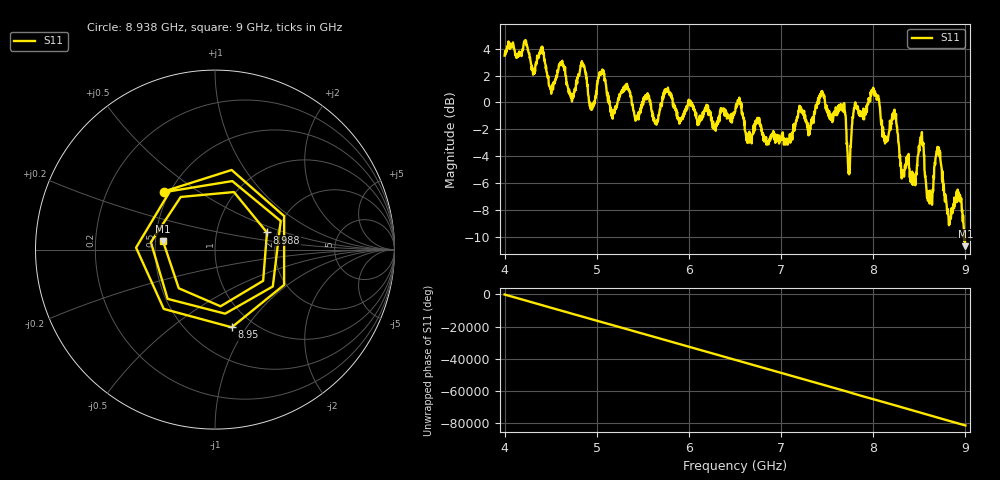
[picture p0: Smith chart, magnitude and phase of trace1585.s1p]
! Created with skrf 1.8.0 (http://scikit-rf.org).
# Hz S RI R 50.0
!freq ReS11 ImS11
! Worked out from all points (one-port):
!   1601 points, 4 GHz to 9 GHz, reference 50 ohm
!   lowest |S11| = -10.7 dB at 9 GHz (marker M1), VSWR 1.83, Z = 27.5 + j2.74 ohm
!   |S11| at or under -10 dB: 8.986563 GHz to 8.990316 GHz (3.753 MHz wide, 0.0418 % of centre); 8.994154 GHz to end of sweep
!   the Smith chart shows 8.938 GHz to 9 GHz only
!   S11 on the Smith chart (normalised r, x): 8.938 GHz: 0.46, +0.37; 8.95 GHz: 0.80, -0.86; 8.988 GHz: 1.77, +0.37; 9 GHz: 0.55, +0.05
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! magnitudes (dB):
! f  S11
! 4 GHz  3.5
! 4.4 GHz  4.0
! 4.503 GHz  0.9
! 4.625 GHz  3.1
! 4.722 GHz  0.5
! 4.844 GHz  2.8
! 4.941 GHz  -0.6
! 5.05 GHz  2.3
! 5.169 GHz  -0.7
! 5.25 GHz  0.4
! 5.875 GHz  -1.2
! 6.5 GHz  -0.7
! 7.125 GHz  -2.2
! 7.447 GHz  0.8
! 7.669 GHz  -0.4
! 7.75 GHz  -4.0
! 7.8 GHz  -0.1
! 8.006 GHz  1.0
! 8.375 GHz  -4.4
! 8.438 GHz  -5.9
! 8.528 GHz  -2.2
! 8.616 GHz  -6.5
! 8.703 GHz  -3.7
! 8.819 GHz  -8.9
! 8.938 GHz  -7.3
! 8.95 GHz  -7.1
! 8.988 GHz  -10.3
! 9 GHz  -10.7
